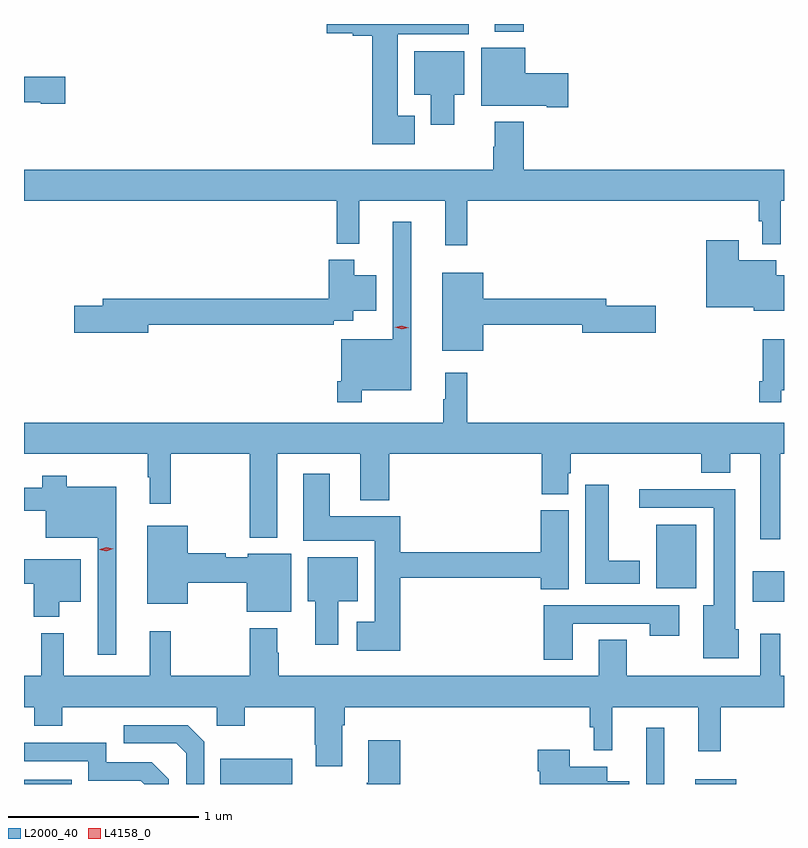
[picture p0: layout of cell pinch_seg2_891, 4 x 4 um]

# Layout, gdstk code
import gdstk
lib = gdstk.Library(unit=1e-6, precision=1e-09)
def R(c, l, rs):  # rectangles x0, y0, x1, y1
    for r in rs: c.add(gdstk.rectangle(r[:2], r[2:], *l))
def P(c, l, *ps):  # polygons
    for p in ps: c.add(gdstk.Polygon(p, *l))
L2000_40 = (2000, 40)
L4158_0 = (4158, 0)

pinch_seg2_891 = lib.new_cell('pinch_seg2_891')
R(pinch_seg2_891, L2000_40, [(407.273,653.891,407.525,653.913), (408.307,653.891,408.685,654.025), (410.547,653.891,410.644,654.187), (410.807,653.891,411.022,653.917), (411.108,654.851,411.273,655.012), (410.6,654.92,410.812,655.255), (409.751,657.851,409.904,657.891)])
P(pinch_seg2_891, L2000_40, [(409.33,657.409),(409.24,657.409),(409.24,657.836),(409.615,657.836),(409.615,657.891),(408.866,657.891),(408.866,657.842),(409.002,657.842),(409.002,657.83),(409.106,657.83),(409.106,657.257),(409.33,657.257)],
  [(410.137,657.632),(409.912,657.632),(409.912,657.766),(409.679,657.766),(409.679,657.461),(410.024,657.461),(410.024,657.454),(410.137,657.454)],
  [(409.537,657.518),(409.591,657.518),(409.591,657.748),(409.328,657.748),(409.328,657.518),(409.415,657.518),(409.415,657.36),(409.537,657.36)],
  [(407.491,657.614),(407.273,657.614),(407.273,657.479),(407.361,657.479),(407.361,657.472),(407.491,657.472)],
  [(409.607,656.96),(411.139,656.96),(411.139,656.853),(411.159,656.853),(411.159,656.732),(411.257,656.732),(411.257,656.96),(411.273,656.96),(411.273,657.124),(409.904,657.124),(409.904,657.376),(409.751,657.376),(409.751,657.245),(409.744,657.245),(409.744,657.124),(407.273,657.124),(407.273,656.96),(408.919,656.96),(408.919,656.735),(409.037,656.735),(409.037,656.96),(409.49,656.96),(409.49,656.727),(409.607,656.727)],
  [(409.051,655.964),(409.312,655.964),(409.312,656.851),(409.215,656.851),(409.215,656.233),(408.942,656.233),(408.942,656.011),(408.922,656.011),(408.922,655.899),(409.051,655.899)],
  [(411.273,656.569),(411.232,656.569),(411.232,656.647),(411.034,656.647),(411.034,656.752),(410.864,656.752),(410.864,656.399),(411.114,656.399),(411.114,656.381),(411.273,656.381)],
  [(407.926,656.308),(408.902,656.308),(408.902,656.328),(409.006,656.328),(409.006,656.381),(409.126,656.381),(409.126,656.569),(409.012,656.569),(409.012,656.65),(408.878,656.65),(408.878,656.444),(407.687,656.444),(407.687,656.408),(407.538,656.408),(407.538,656.266),(407.926,656.266)],
  [(409.69,656.308),(410.21,656.308),(410.21,656.266),(410.599,656.266),(410.599,656.408),(410.338,656.408),(410.338,656.444),(409.69,656.444),(409.69,656.581),(409.475,656.581),(409.475,656.171),(409.69,656.171)],
  [(411.258,655.964),(411.273,655.964),(411.273,656.233),(411.162,656.233),(411.162,656.011),(411.142,656.011),(411.142,655.899),(411.258,655.899)],
  [(411.253,655.628),(411.273,655.628),(411.273,655.792),(409.607,655.792),(409.607,656.056),(409.49,656.056),(409.49,655.916),(409.479,655.916),(409.479,655.792),(407.273,655.792),(407.273,655.628),(407.925,655.628),(407.925,655.505),(407.936,655.505),(407.936,655.365),(408.046,655.365),(408.046,655.628),(408.46,655.628),(408.46,655.187),(408.607,655.187),(408.607,655.628),(409.043,655.628),(409.043,655.385),(409.196,655.385),(409.196,655.628),(409.997,655.628),(409.997,655.417),(410.137,655.417),(410.137,655.527),(410.15,655.527),(410.15,655.628),(410.837,655.628),(410.837,655.529),(410.989,655.529),(410.989,655.628),(411.149,655.628),(411.149,655.179),(411.253,655.179)],
  [(409.253,654.976),(409.994,654.976),(409.994,654.916),(410.14,654.916),(410.14,655.332),(409.994,655.332),(409.994,655.112),(409.253,655.112),(409.253,655.3),(408.883,655.3),(408.883,655.525),(408.743,655.525),(408.743,655.172),(409.118,655.172),(409.118,654.745),(409.023,654.745),(409.023,654.593),(409.253,654.593)],
  [(407.758,655.456),(407.497,655.456),(407.497,655.513),(407.368,655.513),(407.368,655.45),(407.273,655.45),(407.273,655.328),(407.387,655.328),(407.387,655.187),(407.661,655.187),(407.661,654.57),(407.758,654.57)],
  [(410.515,655.066),(410.35,655.066),(410.35,655.465),(410.228,655.465),(410.228,654.944),(410.515,654.944)],
  [(411.034,654.705),(411.016,654.705),(411.016,655.442),(410.511,655.442),(410.511,655.344),(410.903,655.344),(410.903,654.832),(410.849,654.832),(410.849,654.554),(411.034,654.554)],
  [(408.679,655.102),(408.45,655.102),(408.45,655.084),(408.336,655.084),(408.336,655.106),(408.136,655.106),(408.136,655.249),(407.921,655.249),(407.921,654.839),(408.136,654.839),(408.136,654.95),(408.446,654.95),(408.446,654.797),(408.679,654.797)],
  [(408.928,654.854),(409.03,654.854),(409.03,655.084),(408.767,655.084),(408.767,654.854),(408.806,654.854),(408.806,654.624),(408.928,654.624)],
  [(407.458,654.851),(407.572,654.851),(407.572,655.075),(407.273,655.075),(407.273,654.946),(407.324,654.946),(407.324,654.77),(407.458,654.77)],
  [(410.161,654.735),(410.566,654.735),(410.566,654.672),(410.722,654.672),(410.722,654.831),(410.009,654.831),(410.009,654.546),(410.161,654.546)],
  [(408.949,654.2),(408.962,654.2),(408.962,654.296),(410.251,654.296),(410.251,654.189),(410.271,654.189),(410.271,654.068),(410.369,654.068),(410.369,654.296),(410.822,654.296),(410.822,654.063),(410.939,654.063),(410.939,654.296),(411.273,654.296),(411.273,654.46),(411.253,654.46),(411.253,654.682),(411.149,654.682),(411.149,654.46),(410.445,654.46),(410.445,654.65),(410.297,654.65),(410.297,654.46),(408.615,654.46),(408.615,654.581),(408.607,654.581),(408.607,654.712),(408.46,654.712),(408.46,654.46),(408.046,654.46),(408.046,654.694),(407.936,654.694),(407.936,654.46),(407.483,654.46),(407.483,654.685),(407.365,654.685),(407.365,654.46),(407.273,654.46),(407.273,654.296),(407.327,654.296),(407.327,654.197),(407.475,654.197),(407.475,654.296),(408.288,654.296),(408.288,654.197),(408.435,654.197),(408.435,654.296),(408.802,654.296),(408.802,654.097),(408.809,654.097),(408.809,653.985),(408.949,653.985)],
  [(408.222,654.114),(408.135,654.201),(407.799,654.201),(407.799,654.105),(408.075,654.105),(408.126,654.054),(408.126,653.891),(408.222,653.891)],
  [(409.253,654.121),(409.085,654.121),(409.085,653.897),(409.078,653.897),(409.078,653.891),(409.253,653.891)],
  [(408.036,653.916),(407.946,654.006),(407.706,654.006),(407.706,654.108),(407.273,654.108),(407.273,654.012),(407.61,654.012),(407.61,653.909),(407.887,653.909),(407.905,653.891),(408.036,653.891)],
  [(410.458,653.905),(410.344,653.905),(410.344,653.983),(410.146,653.983),(410.146,654.07),(409.976,654.07),(409.976,653.957),(409.988,653.957),(409.988,653.891),(410.458,653.891)])
P(pinch_seg2_891, L4158_0, [(409.261,656.284),(409.225,656.295),(409.225,656.295),(409.225,656.295),(409.262,656.304),(409.297,656.292),(409.297,656.292),(409.297,656.292)],
  [(407.707,655.117),(407.671,655.125),(407.671,655.125),(407.671,655.126),(407.706,655.137),(407.742,655.129),(407.742,655.129),(407.742,655.129)])

lib.write_gds('pinch_seg2_891.gds')
